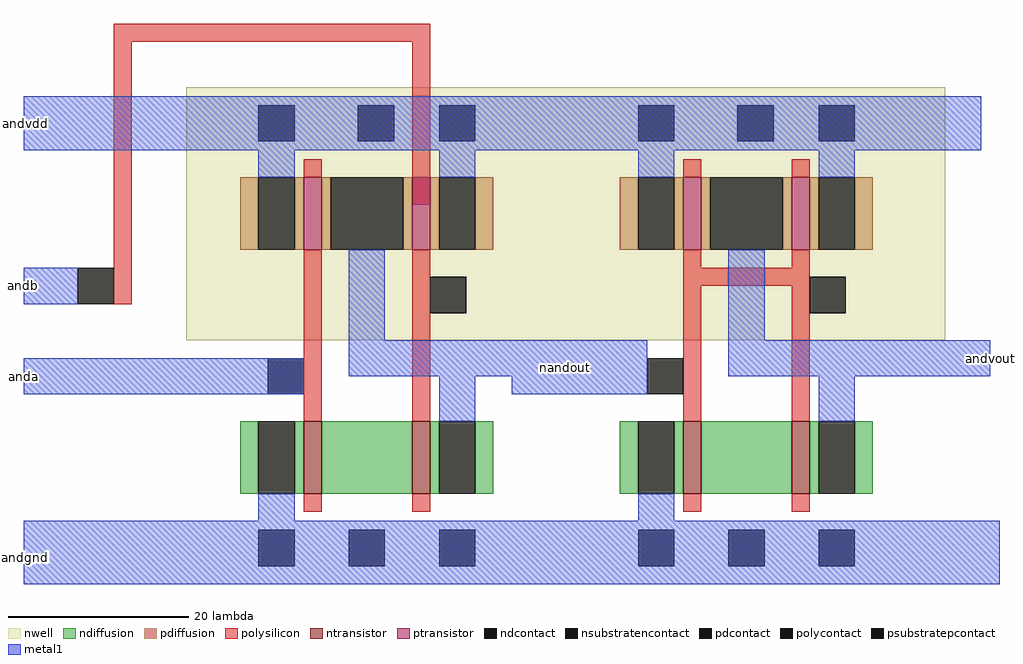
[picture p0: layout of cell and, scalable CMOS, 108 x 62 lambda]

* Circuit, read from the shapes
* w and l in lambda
.subckt and anda andb andvout andvdd andgnd
M1 n1 anda andgnd andgnd nfet w=8 l=2
M2 nandout andb n1 andgnd nfet w=8 l=2
M3 n2 nandout andgnd andgnd nfet w=8 l=2
M4 andvout nandout n2 andgnd nfet w=8 l=2
M5 nandout anda andvdd andvdd pfet w=8 l=2
M6 andvdd andb nandout andvdd pfet w=8 l=2
M7 andvout nandout andvdd andvdd pfet w=8 l=2 m=2
.ends

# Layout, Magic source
magic
tech scmos
<< polysilicon >>
rect -8 60 27 62
rect -8 31 -6 60
rect 25 42 27 60
rect 55 33 69 35
<< metal1 >>
rect -18 48 88 54
rect -18 31 -12 35
rect -18 21 13 25
rect 36 21 51 27
rect 81 23 89 27
rect -18 0 90 7
<< polycontact >>
rect -12 31 -8 35
use nand_two  nand_two_1
transform 1 0 67 0 1 17
box -25 -17 17 38
use nand_two  nand_two_0
transform 1 0 25 0 1 17
box -25 -17 17 38
<< labels >>
rlabel metal1 -18 51 -18 51 3 andvdd
port 4 e
rlabel metal1 -18 33 -18 33 3 andb
port 2 e
rlabel metal1 -18 23 -18 23 3 anda
port 1 e
rlabel metal1 -18 3 -18 3 2 andgnd
port 5 ne
rlabel metal1 89 25 89 25 7 andvout
port 3 w
rlabel metal1 42 24 42 24 1 nandout
<< end >>

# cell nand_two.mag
magic
tech scmos
<< nwell >>
rect -25 10 17 38
<< polysilicon >>
rect -12 28 -10 30
rect 0 28 2 30
rect -12 1 -10 20
rect 0 1 2 20
rect -12 -9 -10 -7
rect 0 -9 2 -7
<< ndiffusion >>
rect -19 -7 -17 1
rect -13 -7 -12 1
rect -10 -7 0 1
rect 2 -7 3 1
rect 7 -7 9 1
<< pdiffusion >>
rect -19 20 -17 28
rect -13 20 -12 28
rect -10 20 -9 28
rect -1 20 0 28
rect 2 20 3 28
rect 7 20 9 28
<< metal1 >>
rect -20 36 10 37
rect -20 32 -17 36
rect -13 32 -6 36
rect -2 32 3 36
rect 7 32 10 36
rect -20 31 10 32
rect -17 28 -13 31
rect 3 28 7 31
rect -7 10 -3 20
rect -7 6 17 10
rect 3 1 7 6
rect -17 -10 -13 -7
rect -19 -11 9 -10
rect -19 -15 -17 -11
rect -13 -15 -7 -11
rect -3 -15 3 -11
rect 7 -15 9 -11
rect -19 -17 9 -15
<< ntransistor >>
rect -12 -7 -10 1
rect 0 -7 2 1
<< ptransistor >>
rect -12 20 -10 28
rect 0 20 2 28
<< polycontact >>
rect -16 4 -12 8
rect 2 13 6 17
<< ndcontact >>
rect -17 -7 -13 1
rect 3 -7 7 1
<< pdcontact >>
rect -17 20 -13 28
rect -9 20 -1 28
rect 3 20 7 28
<< psubstratepcontact >>
rect -17 -15 -13 -11
rect -7 -15 -3 -11
rect 3 -15 7 -11
<< nsubstratencontact >>
rect -17 32 -13 36
rect -6 32 -2 36
rect 3 32 7 36
<< labels >>
rlabel metal1 -7 34 -7 34 5 vdd
rlabel metal1 -11 -13 -11 -13 1 gnd
rlabel polycontact 5 15 5 15 1 inB
rlabel metal1 12 8 12 8 7 out
rlabel polycontact -14 6 -14 6 1 inA
<< end >>
